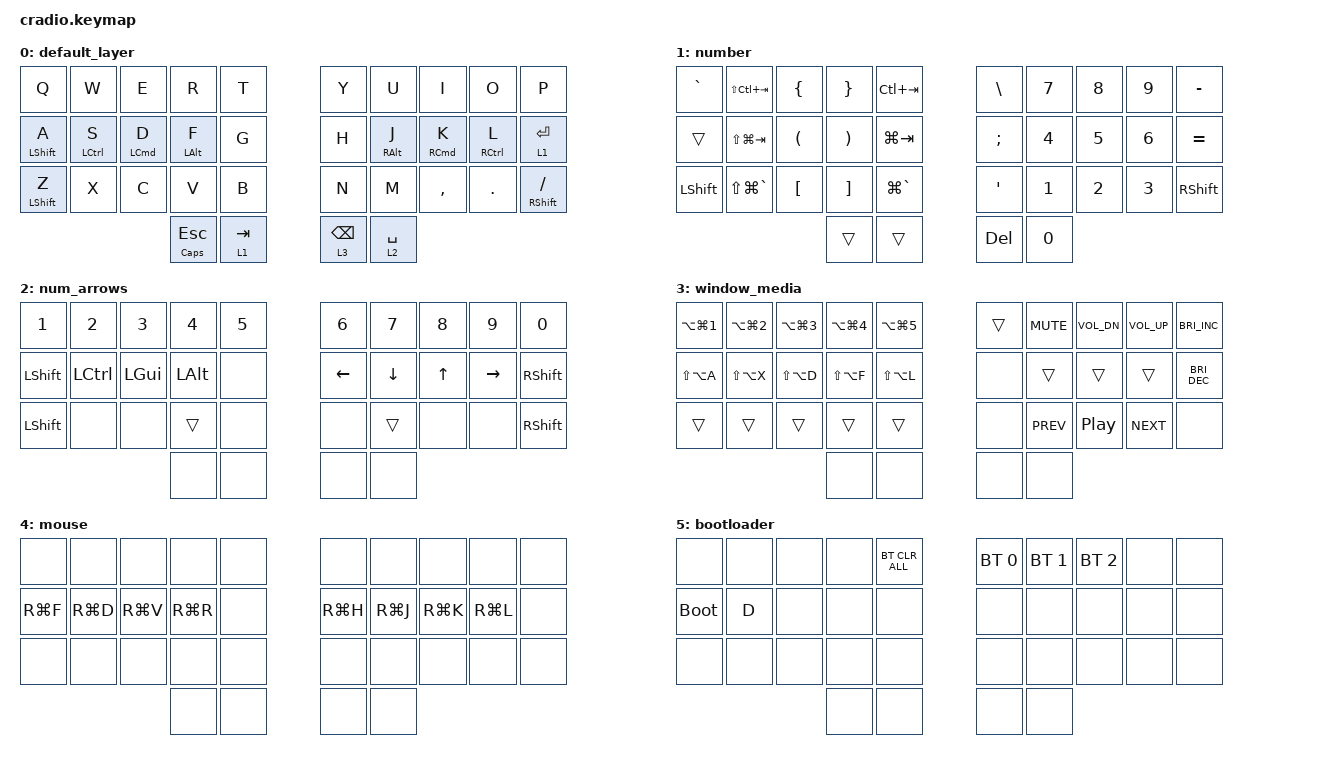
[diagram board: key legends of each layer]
/*
 * Copyright (c) 2020 The ZMK Contributors
 *
 * SPDX-License-Identifier: MIT
 */

#include <behaviors.dtsi>
#include <dt-bindings/zmk/bt.h>
#include <dt-bindings/zmk/keys.h>

#define NAV_L 1
#define OTHER_L 2
#define NUM_L 3
#define SYM_L 4

// Using layer taps on thumbs, having quick tap as well helps w/ repeating space/backspace

&lt { quick-tap-ms = <200>; };

/ {
    behaviors {
        hm: homerow_mods {
            compatible = "zmk,behavior-hold-tap";
            #binding-cells = <2>;
            tapping-term-ms = <200>;
            require-prior-idle-ms = <150>;
            flavor = "balanced";
            bindings = <&kp>, <&kp>;
        };
    };

    combos {
        compatible = "zmk,combos";

        bootloader-trigger {
            bindings = <&mo 6>;
            key-positions = <32 31 30 33>;
        };

        mouse-trigger {
            bindings = <&mo 5>;
            key-positions = <31 30>;
        };
    };

    keymap {
        compatible = "zmk,keymap";

        default_layer {
            bindings = <
&kp Q             &kp W        &kp E       &kp R            &kp T        &kp Y            &kp U        &kp I       &kp O        &kp P
&hm LSHIFT A      &hm LCTRL S  &hm LCMD D  &hm LALT F       &kp G        &kp H            &hm RALT J   &hm RCMD K  &hm RCTRL L  &lt 1 RETURN
&hm LEFT_SHIFT Z  &kp X        &kp C       &kp V            &kp B        &kp N            &kp M        &kp COMMA   &kp DOT      &hm RIGHT_SHIFT SLASH
                                           &hm CAPS ESCAPE  &lt 1 TAB    &lt 3 BACKSPACE  &lt 2 SPACE
            >;
        };

        number {
            bindings = <
&kp GRAVE  &kp LS(LC(TAB))    &kp LBRC  &kp RBRC  &kp LC(TAB)      &kp BACKSLASH  &kp NUMBER_7  &kp NUMBER_8  &kp NUMBER_9  &kp MINUS
&trans     &kp LS(LG(TAB))    &kp LPAR  &kp RPAR  &kp LG(TAB)      &kp SEMI       &kp NUMBER_4  &kp NUMBER_5  &kp NUMBER_6  &kp EQUAL
&kp LSHFT  &kp LS(LG(GRAVE))  &kp LBKT  &kp RBKT  &kp LG(GRAVE)    &kp SQT        &kp NUMBER_1  &kp NUMBER_2  &kp NUMBER_3  &kp RIGHT_SHIFT
                                        &trans    &trans           &kp DEL        &kp N0
            >;
        };

        num_arrows {
            bindings = <
&kp N1          &kp N2            &kp N3        &kp N4    &kp N5    &kp N6    &kp N7    &kp N8        &kp N9     &kp N0
&kp LEFT_SHIFT  &kp LEFT_CONTROL  &kp LEFT_GUI  &kp LALT  &none     &kp LEFT  &kp DOWN  &kp UP_ARROW  &kp RIGHT  &kp RIGHT_SHIFT
&kp LEFT_SHIFT  &none             &none         &trans    &none     &none     &trans    &none         &none      &kp RIGHT_SHIFT
                                                &none     &none     &none     &none
            >;
        };

        window_media {
            bindings = <
&kp LA(LG(N1))  &kp LA(LG(N2))  &kp LA(LG(N3))  &kp LA(LG(N4))  &kp LA(LG(N5))    &trans  &kp K_MUTE  &kp C_VOL_DN      &kp C_VOL_UP  &kp C_BRIGHTNESS_INC
&kp LS(LA(A))   &kp LS(LA(X))   &kp LS(LA(D))   &kp LS(LA(F))   &kp LS(LA(L))     &none   &trans      &trans            &trans        &kp C_BRIGHTNESS_DEC
&trans          &trans          &trans          &trans          &trans            &none   &kp C_PREV  &kp C_PLAY_PAUSE  &kp C_NEXT    &none
                                                &none           &none             &none   &none
            >;
        };

        mouse {
            bindings = <
&none      &none      &none      &none      &none    &none      &none      &none      &none      &none
&kp RG(F)  &kp RG(D)  &kp RG(V)  &kp RG(R)  &none    &kp RG(H)  &kp RG(J)  &kp RG(K)  &kp RG(L)  &none
&none      &none      &none      &none      &none    &none      &none      &none      &none      &none
                                 &none      &none    &none      &none
            >;
        };

        bootloader {
            bindings = <
&none        &none  &none  &none  &bt BT_CLR_ALL    &bt BT_SEL 0  &bt BT_SEL 1  &bt BT_SEL 2  &none  &none
&bootloader  &kp D  &none  &none  &none             &none         &none         &none         &none  &none
&none        &none  &none  &none  &none             &none         &none         &none         &none  &none
                           &none  &none             &none         &none
            >;
        };
    };
};
